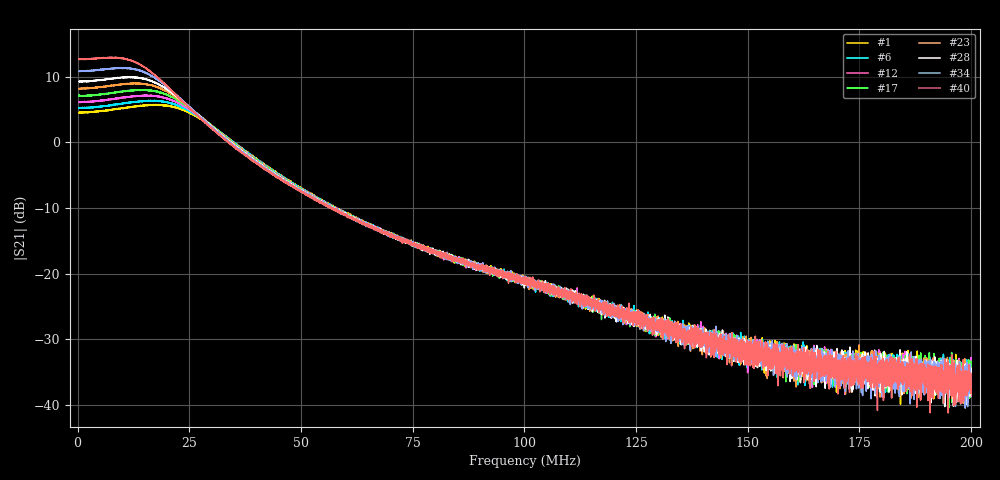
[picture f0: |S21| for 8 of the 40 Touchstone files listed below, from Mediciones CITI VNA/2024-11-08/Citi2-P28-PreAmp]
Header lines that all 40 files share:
# Hz S DB R 50
! CMT, M5065, 19127446, 24.2.4/2
! Data: Format (Calibration Info)
! Freq	S11:dB/Ang(F2)	S21:dB/Ang(F2)	S12:dB/Ang(F2)	S22:dB/Ang(F2)
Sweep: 300 kHz to 200 MHz
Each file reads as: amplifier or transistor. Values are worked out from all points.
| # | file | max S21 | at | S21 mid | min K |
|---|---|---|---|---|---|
| 1 | ganancia_0.s2p | 5.8 dB | 17.59 MHz | -21.3 dB at 100.2 MHz | 6.92 |
| 2 | ganancia_1.s2p | 5.9 dB | 17.41 MHz | -21.2 dB at 100.2 MHz | 10.09 |
| 3 | ganancia_2.s2p | 6.0 dB | 16.52 MHz | -21.0 dB at 100.2 MHz | 7.78 |
| 4 | ganancia_3.s2p | 6.1 dB | 16.81 MHz | -21.1 dB at 100.2 MHz | 6.65 |
| 5 | ganancia_4.s2p | 6.3 dB | 17.37 MHz | -20.9 dB at 100.2 MHz | 7.23 |
| 6 | ganancia_5.s2p | 6.4 dB | 16.26 MHz | -20.7 dB at 100.2 MHz | 7.23 |
| 7 | ganancia_6.s2p | 6.5 dB | 15.99 MHz | -21.0 dB at 100.2 MHz | 7.76 |
| 8 | ganancia_7.s2p | 6.6 dB | 16.34 MHz | -21.2 dB at 100.2 MHz | 7.71 |
| 9 | ganancia_8.s2p | 6.8 dB | 16.32 MHz | -20.7 dB at 100.2 MHz | 7.01 |
| 10 | ganancia_9.s2p | 6.9 dB | 16.68 MHz | -21.1 dB at 100.2 MHz | 5.99 |
| 11 | ganancia_10.s2p | 7.0 dB | 14.97 MHz | -20.3 dB at 100.2 MHz | 6.98 |
| 12 | ganancia_11.s2p | 7.2 dB | 15.43 MHz | -21.0 dB at 100.2 MHz | 5.84 |
| 13 | ganancia_12.s2p | 7.4 dB | 15.19 MHz | -20.9 dB at 100.2 MHz | 5.57 |
| 14 | ganancia_13.s2p | 7.5 dB | 15.15 MHz | -20.9 dB at 100.2 MHz | 4.51 |
| 15 | ganancia_14.s2p | 7.6 dB | 14.75 MHz | -21.3 dB at 100.2 MHz | 5.66 |
| 16 | ganancia_15.s2p | 7.8 dB | 14.24 MHz | -21.1 dB at 100.2 MHz | 3.98 |
| 17 | ganancia_16.s2p | 8.0 dB | 15.06 MHz | -21.4 dB at 100.2 MHz | 4.42 |
| 18 | ganancia_17.s2p | 8.2 dB | 13.75 MHz | -21.5 dB at 100.2 MHz | 4.42 |
| 19 | ganancia_18.s2p | 8.3 dB | 13.9 MHz | -20.9 dB at 100.2 MHz | 6.52 |
| 20 | ganancia_19.s2p | 8.5 dB | 13.66 MHz | -20.8 dB at 100.2 MHz | 4.51 |
| 21 | ganancia_20.s2p | 8.7 dB | 14.1 MHz | -21.4 dB at 100.2 MHz | 5.26 |
| 22 | ganancia_21.s2p | 8.9 dB | 12.84 MHz | -21.8 dB at 100.2 MHz | 6.07 |
| 23 | ganancia_22.s2p | 9.0 dB | 13.17 MHz | -21.0 dB at 100.2 MHz | 5.24 |
| 24 | ganancia_23.s2p | 9.2 dB | 12.46 MHz | -21.4 dB at 100.2 MHz | 4.93 |
| 25 | ganancia_24.s2p | 9.4 dB | 13.04 MHz | -21.2 dB at 100.2 MHz | 6.98 |
| 26 | ganancia_25.s2p | 9.6 dB | 12.46 MHz | -21.3 dB at 100.2 MHz | 4.94 |
| 27 | ganancia_26.s2p | 9.8 dB | 11.62 MHz | -21.1 dB at 100.2 MHz | 3.62 |
| 28 | ganancia_27.s2p | 9.9 dB | 11.08 MHz | -21.2 dB at 100.2 MHz | 5.83 |
| 29 | ganancia_28.s2p | 10.3 dB | 11.13 MHz | -21.0 dB at 100.2 MHz | 6.18 |
| 30 | ganancia_29.s2p | 10.4 dB | 10.6 MHz | -21.2 dB at 100.2 MHz | 5.40 |
| 31 | ganancia_30.s2p | 10.6 dB | 10.15 MHz | -21.2 dB at 100.2 MHz | 5.03 |
| 32 | ganancia_31.s2p | 10.8 dB | 10.55 MHz | -21.1 dB at 100.2 MHz | 5.78 |
| 33 | ganancia_32.s2p | 11.1 dB | 9.709 MHz | -21.2 dB at 100.2 MHz | 3.63 |
| 34 | ganancia_33.s2p | 11.4 dB | 9.82 MHz | -21.3 dB at 100.2 MHz | 2.94 |
| 35 | ganancia_34.s2p | 11.6 dB | 9.177 MHz | -21.2 dB at 100.2 MHz | 3.23 |
| 36 | ganancia_35.s2p | 11.8 dB | 9.643 MHz | -20.9 dB at 100.2 MHz | 3.10 |
| 37 | ganancia_36.s2p | 12.2 dB | 8.644 MHz | -21.3 dB at 100.2 MHz | 4.43 |
| 38 | ganancia_37.s2p | 12.4 dB | 8.666 MHz | -20.6 dB at 100.2 MHz | 4.11 |
| 39 | ganancia_38.s2p | 12.7 dB | 7.823 MHz | -21.1 dB at 100.2 MHz | 2.40 |
| 40 | ganancia_39.s2p | 12.9 dB | 8.533 MHz | -20.9 dB at 100.2 MHz | 2.11 |
